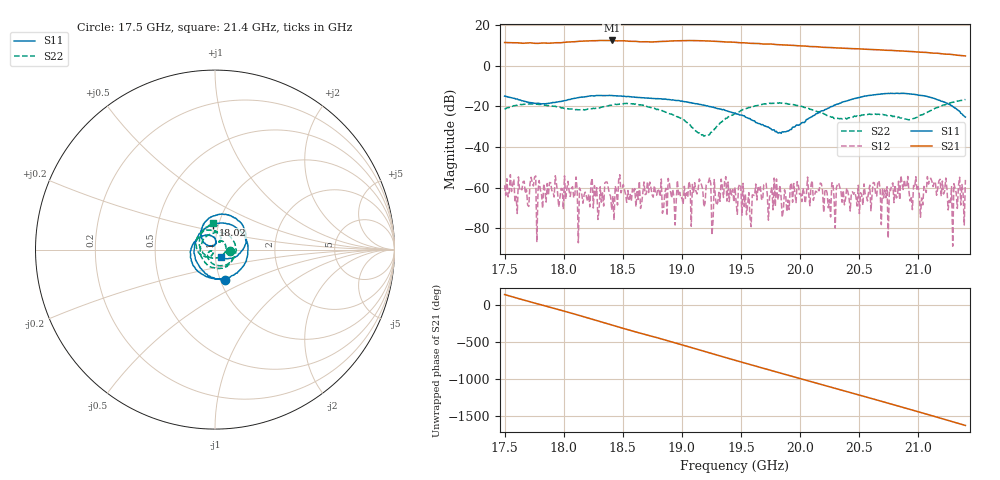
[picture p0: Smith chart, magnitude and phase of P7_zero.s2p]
!Created with skrf (http://scikit-rf.org).
# GHz S RI R 50.0
!freq ReS11 ImS11 ReS21 ImS21 ReS12 ImS12 ReS22 ImS22
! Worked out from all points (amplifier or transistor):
!   401 points, 17.5 GHz to 21.4 GHz, reference 50 ohm
!   highest |S21| = 12.4 dB at 18.41 GHz (marker M1)
!   |S21| within 3 dB of that: start of sweep to 20.1 GHz
!   unconditionally stable (mu >= 1): start of sweep to end of sweep
!   at 18.14 GHz: K = 148.28, MAG = 12.2 dB, |S12| = -61.8 dB
!   at 19.45 GHz: K = 130.33, MAG = 11.5 dB, |S12| = -59.9 dB
!   at 21.4 GHz: K = 181.73, MAG = 4.9 dB, |S12| = -56.2 dB
!   S11 on the Smith chart (normalised r, x): 17.5 GHz: 1.05, -0.37; 18.02 GHz: 0.94, +0.26; 21.4 GHz: 1.06, -0.09
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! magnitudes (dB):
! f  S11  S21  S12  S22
! 17.5 GHz  -15.0  11.4  -58.8  -21.3
! 18.02 GHz  -17.2  11.5  -65.6  -21.0
! 18.15 GHz  -15.5  12.0  -63.3  -21.5
! 18.31 GHz  -14.7  12.4  -59.6  -20.7
! 18.37 GHz  -14.7  12.3  -57.3  -19.8
! 18.41 GHz  -14.7  12.4  -71.0  -19.4
! 18.48 GHz  -14.9  12.2  -62.6  -18.8
! 18.81 GHz  -16.3  11.9  -61.6  -21.7
! 18.86 GHz  -16.4  11.9  -62.7  -22.7
! 18.9 GHz  -16.8  12.1  -61.9  -23.8
! 18.93 GHz  -17.0  12.2  -64.7  -24.3
! 19.2 GHz  -19.6  12.2  -67.7  -34.4
! 19.35 GHz  -21.5  11.7  -64.9  -26.8
! 19.45 GHz  -23.5  11.5  -59.9  -23.5
! 19.83 GHz  -32.9  10.3  -58.8  -18.3
! 20.1 GHz  -25.0  9.4  -56.5  -21.7
! 20.76 GHz  -13.7  7.5  -60.8  -24.7
! 20.87 GHz  -13.7  7.2  -60.9  -25.9
! 21.03 GHz  -14.7  6.6  -65.1  -24.2
! 21.1 GHz  -15.5  6.3  -55.6  -22.4
! 21.27 GHz  -19.3  5.6  -68.2  -18.3
! 21.4 GHz  -25.3  4.8  -56.2  -16.7
